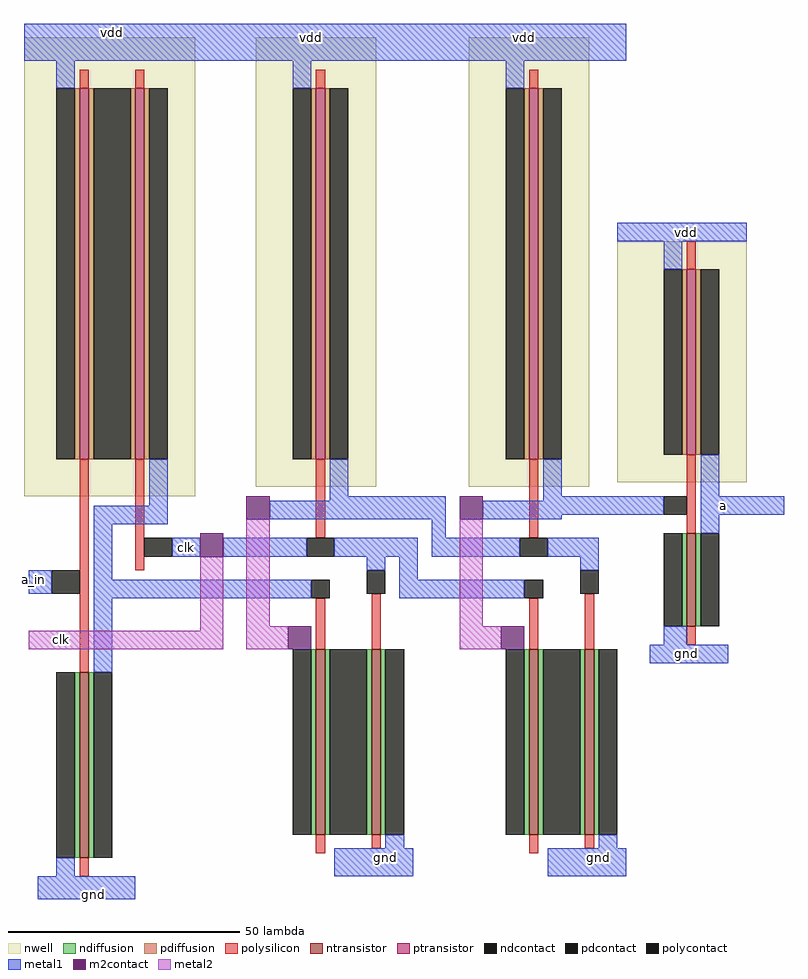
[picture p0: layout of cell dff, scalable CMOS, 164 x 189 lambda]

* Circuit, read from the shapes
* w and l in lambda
.subckt dff a a_in clk gnd vdd
M1 n1 a_in gnd VSUBS nfet w=40 l=2
M2 n2 n1 n3 VSUBS nfet w=40 l=2
M3 gnd clk n2 VSUBS nfet w=40 l=2
M4 n4 clk n5 VSUBS nfet w=40 l=2
M5 gnd n3 n4 VSUBS nfet w=40 l=2
M6 a n5 gnd VSUBS nfet w=20 l=2
M7 n6 a_in vdd n7 pfet w=80 l=2
M8 n1 clk n6 n7 pfet w=80 l=2
M9 n3 clk vdd n8 pfet w=80 l=2
M10 n5 n3 vdd n9 pfet w=80 l=2
M11 a n5 vdd n10 pfet w=40 l=2
.ends

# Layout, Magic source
magic
tech scmos
<< nwell >>
rect -420 33 -383 132
rect -370 35 -344 132
rect -324 35 -298 132
rect -292 36 -264 88
<< ntransistor >>
rect -277 5 -275 25
rect -408 -45 -406 -5
rect -357 -40 -355 0
rect -345 -40 -343 0
rect -311 -40 -309 0
rect -299 -40 -297 0
<< ptransistor >>
rect -408 41 -406 121
rect -396 41 -394 121
rect -357 41 -355 121
rect -311 41 -309 121
rect -277 42 -275 82
<< ndiffusion >>
rect -278 5 -277 25
rect -275 5 -274 25
rect -409 -45 -408 -5
rect -406 -45 -405 -5
rect -358 -40 -357 0
rect -355 -40 -354 0
rect -346 -40 -345 0
rect -343 -40 -342 0
rect -312 -40 -311 0
rect -309 -40 -308 0
rect -300 -40 -299 0
rect -297 -40 -296 0
<< pdiffusion >>
rect -409 41 -408 121
rect -406 41 -405 121
rect -397 41 -396 121
rect -394 41 -393 121
rect -358 41 -357 121
rect -355 41 -354 121
rect -312 41 -311 121
rect -309 41 -308 121
rect -278 42 -277 82
rect -275 42 -274 82
<< ndcontact >>
rect -282 5 -278 25
rect -274 5 -270 25
rect -413 -45 -409 -5
rect -405 -45 -401 -5
rect -362 -40 -358 0
rect -354 -40 -346 0
rect -342 -40 -338 0
rect -316 -40 -312 0
rect -308 -40 -300 0
rect -296 -40 -292 0
<< pdcontact >>
rect -413 41 -409 121
rect -405 41 -397 121
rect -393 41 -389 121
rect -362 41 -358 121
rect -354 41 -350 121
rect -316 41 -312 121
rect -308 41 -304 121
rect -282 42 -278 82
rect -274 42 -270 82
<< polysilicon >>
rect -408 121 -406 125
rect -396 121 -394 125
rect -357 121 -355 125
rect -311 121 -309 125
rect -277 82 -275 88
rect -408 -5 -406 41
rect -396 17 -394 41
rect -357 24 -355 41
rect -311 24 -309 41
rect -277 25 -275 42
rect -357 0 -355 11
rect -345 0 -343 12
rect -311 0 -309 11
rect -299 0 -297 12
rect -277 1 -275 5
rect -357 -44 -355 -40
rect -345 -43 -343 -40
rect -311 -44 -309 -40
rect -299 -43 -297 -40
rect -408 -49 -406 -45
<< polycontact >>
rect -414 12 -408 17
rect -282 29 -277 33
rect -394 20 -388 24
rect -359 20 -353 24
rect -313 20 -307 24
rect -358 11 -354 15
rect -346 12 -342 17
rect -312 11 -308 15
rect -300 12 -296 17
<< metal1 >>
rect -420 127 -290 135
rect -413 121 -409 127
rect -362 121 -358 127
rect -316 121 -312 127
rect -292 88 -264 92
rect -282 82 -278 88
rect -393 31 -389 41
rect -354 33 -350 41
rect -308 33 -304 41
rect -274 33 -270 42
rect -405 27 -389 31
rect -354 32 -329 33
rect -367 28 -329 32
rect -308 32 -282 33
rect -321 29 -282 32
rect -274 29 -256 33
rect -321 28 -304 29
rect -419 12 -414 17
rect -405 15 -401 27
rect -388 20 -382 24
rect -332 24 -329 28
rect -274 25 -270 29
rect -377 20 -359 24
rect -353 20 -335 24
rect -332 20 -313 24
rect -307 20 -296 24
rect -346 17 -342 20
rect -405 11 -358 15
rect -339 15 -335 20
rect -300 17 -296 20
rect -339 11 -312 15
rect -405 -5 -401 11
rect -282 1 -277 5
rect -285 -3 -268 1
rect -342 -43 -338 -40
rect -296 -43 -292 -40
rect -413 -49 -409 -45
rect -353 -49 -336 -43
rect -307 -49 -290 -43
rect -417 -54 -396 -49
<< m2contact >>
rect -372 28 -367 33
rect -326 28 -321 33
rect -382 20 -377 25
rect -363 0 -358 5
rect -317 0 -312 5
<< metal2 >>
rect -382 4 -377 20
rect -419 0 -377 4
rect -372 5 -367 28
rect -326 5 -321 28
rect -372 0 -363 5
rect -326 0 -317 5
<< labels >>
rlabel metal1 -401 133 -401 133 5 vdd
rlabel metal1 -385 22 -385 22 1 clk
rlabel metal1 -418 15 -418 15 3 a_in
rlabel metal1 -358 132 -358 132 5 vdd
rlabel metal1 -342 -45 -342 -45 1 gnd
rlabel metal1 -312 132 -312 132 5 vdd
rlabel metal1 -296 -45 -296 -45 1 gnd
rlabel metal1 -277 -1 -277 -1 1 gnd
rlabel metal1 -277 90 -277 90 5 vdd
rlabel metal1 -270 30 -268 32 7 a
rlabel metal2 -412 2 -412 2 1 clk
rlabel metal1 -405 -53 -405 -53 1 gnd
<< end >>
